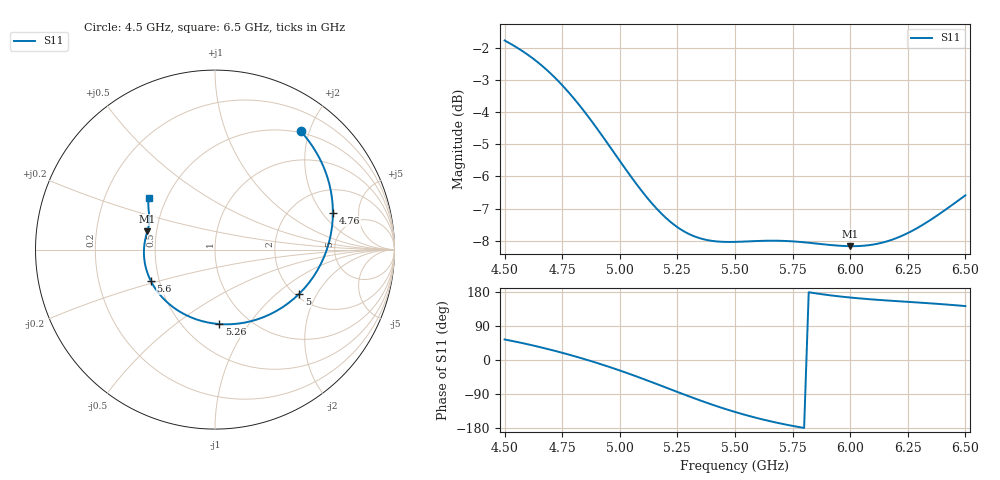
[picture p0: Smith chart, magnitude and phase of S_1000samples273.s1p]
! TOUCHSTONE file generated by CST MICROWAVE STUDIO
! Date and time: Thu Oct 27 14:30:01 2022
! Project name: L.cst
! Parameters = {Di=1.27; Epsilon_r=1.56; InnerDiameter=1.27; Length=2; Lf=10; Lg=60; OuterConductorThickness=0.2921; OuterDiameter=3.6; Wf=3; Wp=41.2; de=1.5; df=6.8; g=0.8; gx=1.77654; gy=0.743188; h=2.34; hf=1.524; px=11.2296; py=9.17881; w=9.7; wx=9.45302; wy=8.43562}
! Header version: 2018
! Port assignment regex: !\s*Touchstone port\s*([0-9]+)\s*=\s*(CST MWS port|CST DS port)\s*([0-9]+|Zmin|Zmax)\s*\(\"(.*)\"\)(\s*mode\s*([0-9]+))?.*
! Touchstone port assignment:
! Touchstone port 1 = CST MWS port 1 ("")
# GHz S DB R 50
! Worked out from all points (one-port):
!   101 points, 4.5 GHz to 6.5 GHz, reference 50 ohm
!   lowest |S11| = -8.2 dB at 6 GHz (marker M1), VSWR 2.28, Z = 22.2 + j5.34 ohm
!   |S11| at or under -10 dB: nowhere
!   S11 on the Smith chart (normalised r, x): 4.5 GHz: 0.47, +1.86; 4.76 GHz: 3.29, +2.57; 5 GHz: 2.10, -1.44; 5.26 GHz: 0.74, -0.74; 5.6 GHz: 0.45, -0.19; 6.5 GHz: 0.40, +0.29
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4.5  -1.78 54.2
4.56  -2.03 46.8
4.64  -2.43 35.9
4.7  -2.81 27.0
4.76  -3.25 17.4
4.82  -3.75 7.1
4.88  -4.31 -3.8
4.94  -4.91 -15.4
5  -5.52 -27.7
5.06  -6.12 -40.6
5.12  -6.67 -54.1
5.18  -7.15 -68.0
5.22  -7.41 -77.3
5.26  -7.63 -86.6
5.32  -7.85 -100.3
5.38  -7.98 -113.4
5.44  -8.03 -125.7
5.5  -8.03 -137.1
5.54  -8.02 -144.1
5.6  -8.01 -153.8
5.68  -8.00 -165.2
5.76  -8.02 -175.0
5.88  -8.11 173.4
6  -8.17 164.9
6.14  -8.06 157.9
6.26  -7.72 153.1
6.38  -7.20 148.1
6.5  -6.59 142.3
